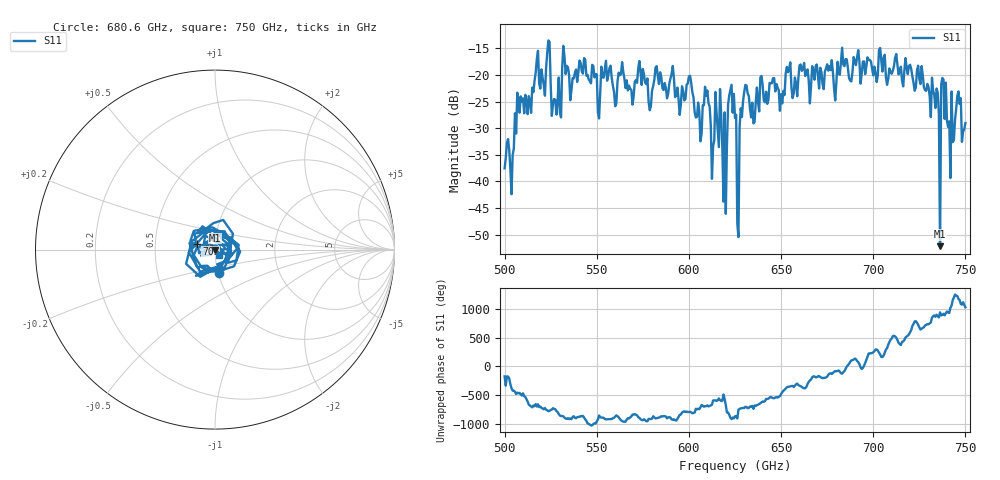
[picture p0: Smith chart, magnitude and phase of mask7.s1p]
!Created with skrf (http://scikit-rf.org).
# GHz S MA R 50.0
!freq magS11 angS11
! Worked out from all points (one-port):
!   401 points, 500 GHz to 750 GHz, reference 50 ohm
!   lowest |S11| = -52.2 dB at 736.2 GHz (marker M1), VSWR 1.00, Z = 49.8 - j0.15 ohm
!   |S11| at or under -10 dB: start of sweep to end of sweep
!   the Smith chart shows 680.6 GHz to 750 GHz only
!   S11 on the Smith chart (normalised r, x): 680.6 GHz: 1.01, -0.27; 705 GHz: 0.81, +0.05; 750 GHz: 1.04, -0.06
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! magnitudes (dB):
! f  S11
! 500 GHz  -37.5
! 517.5 GHz  -16.9
! 523.8 GHz  -13.5
! 526.9 GHz  -24.5
! 531.2 GHz  -18.4
! 562.5 GHz  -20.0
! 593.8 GHz  -22.4
! 605.6 GHz  -26.8
! 610 GHz  -22.9
! 612.5 GHz  -39.5
! 615.6 GHz  -30.2
! 619.4 GHz  -27.0
! 622.5 GHz  -22.8
! 625 GHz  -28.1
! 627.5 GHz  -29.8
! 628.8 GHz  -27.9
! 630.6 GHz  -21.9
! 634.4 GHz  -25.2
! 656.2 GHz  -24.3
! 680.6 GHz  -17.5
! 687.5 GHz  -21.0
! 705 GHz  -19.3
! 718.8 GHz  -19.8
! 736.2 GHz  -52.2
! 738.1 GHz  -20.8
! 742.5 GHz  -23.1
! 746.2 GHz  -23.1
! 750 GHz  -29.0
